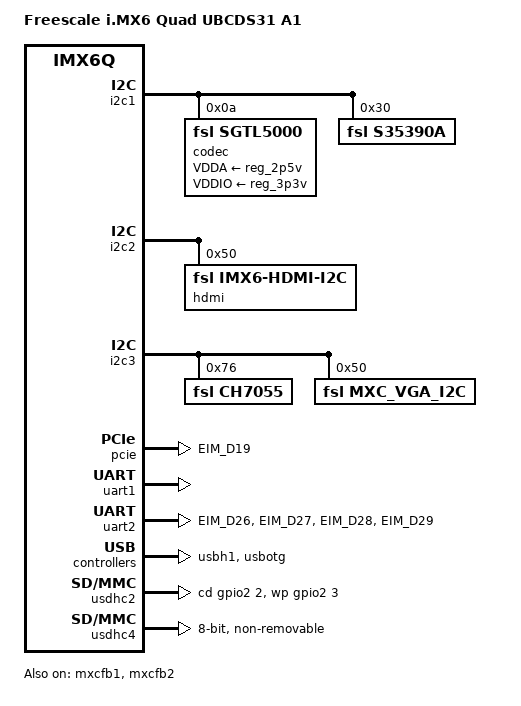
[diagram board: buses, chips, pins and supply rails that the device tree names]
/*
 * Copyright 2012 Freescale Semiconductor, Inc.
 * Copyright 2011 Linaro Ltd.
 *
 * The code contained herein is licensed under the GNU General Public
 * License. You may obtain a copy of the GNU General Public License
 * Version 2 or later at the following locations:
 *
 * http://www.opensource.org/licenses/gpl-license.html
 * http://www.gnu.org/copyleft/gpl.html
 */

/dts-v1/;

#include "imx6q.dtsi"
#include "imx6qdl-advantech.dtsi"

/ {
	model = "Freescale i.MX6 Quad UBCDS31 A1";
	compatible = "fsl,imx6q-sabresd", "fsl,imx6q";

	board {
		compatible = "proc-board";
		board-type = "UBC-DS31 A1";
		board-cpu = "DualQuad";
	};
};

&audio_sgtl5000 {
	audio-codec = <&codec>;
};

&i2c1 {

	codec: sgtl5000@0a {
		compatible = "fsl,sgtl5000";
		reg = <0x0a>;
		clocks = <&clks 201>;
		VDDA-supply = <&reg_2p5v>;
		VDDIO-supply = <&reg_3p3v>;
		mclk = <16000000>;
		mclk_source = <0>;
	};

	s35390a@30 {
		compatible = "fsl,s35390a";
		reg = <0x30>;
	};

};

&i2c2 {

	hdmi: edid@50 {
		compatible = "fsl,imx6-hdmi-i2c";
		reg = <0x50>;
	};
};

&i2c3 {

	ch7055@76 {
		compatible = "fsl,ch7055";
		reg = <0x76>;
	};

	mxc_vga_i2c@50 {
		compatible = "fsl,mxc_vga_i2c";
		reg = <0x50>;
	};
};

&iomuxc {
	pinctrl-names = "default";
	pinctrl-0 = <&pinctrl_hog_1 &pinctrl_hog_2>;

	hog {
		pinctrl_hog_2: hoggrp-2 {
			fsl,pins = <
				MX6QDL_PAD_EIM_D20__GPIO3_IO20 		0x80000000	/* 3G_DET# */
				MX6QDL_PAD_EIM_D24__GPIO3_IO24 		0x80000000	/* ALL_SYS_PG */
				MX6QDL_PAD_EIM_D25__GPIO3_IO25 		0x80000000	/* PLTRST# */
			>;
		};
	};

	pcie {
		pinctrl_pcie_1: pciegrp-1 {
			fsl,pins = <
				MX6QDL_PAD_EIM_D19__GPIO3_IO19		0x80000000	/* PCIE_DIS_B */
			>;
		};
	};

	spi1 {
		pinctrl_ecspi1_cs_0: ecspi1_cs_grp-0 {
			fsl,pins = <
				MX6QDL_PAD_EIM_EB2__GPIO2_IO30		0x80000000	/* ECSPI1_CS0 */
			>;
		};
	};

	uart2 {
		pinctrl_uart2_3: uart2grp-3 { /* DCE mode */
			fsl,pins = <
				MX6QDL_PAD_EIM_D26__UART2_TX_DATA	0x1b0b1
				MX6QDL_PAD_EIM_D27__UART2_RX_DATA	0x1b0b1
				MX6QDL_PAD_EIM_D28__UART2_CTS_B		0x1b0b1
				MX6QDL_PAD_EIM_D29__UART2_RTS_B		0x1b0b1
			>;
		};
	};
};

&mxcfb1 {
	status = "okay";
};

&mxcfb2 {
	status = "okay";
};

&pcie {
	pinctrl-names = "default";
	pinctrl-0 = <&pinctrl_pcie_1>;
	disable-gpio = <&gpio3 19 0>;
	status = "okay";
};

&uart1 {
	pinctrl-names = "default";
	pinctrl-0 = <&pinctrl_uart1_1>;
	status = "okay";
};

&uart2 {
	pinctrl-names = "default";
	pinctrl-0 = <&pinctrl_uart2_3>;
	status = "okay";
};

&usbh1 {
	status = "okay";
};

&usbotg {
	pinctrl-names = "default";
	pinctrl-0 = <&pinctrl_usbotg_2>;
	disable-over-current;
	status = "okay";
};

&usdhc2 {
	pinctrl-names = "default";
	pinctrl-0 = <&pinctrl_usdhc2_2>;
	cd-gpios = <&gpio2 2 0>;
	wp-gpios = <&gpio2 3 0>;
	no-1-8-v;
	keep-power-in-suspend;
	enable-sdio-wakeup;
	status = "okay";
};

&usdhc4 {
	pinctrl-names = "default";
	pinctrl-0 = <&pinctrl_usdhc4_1>;
	bus-width = <8>;
	non-removable;
	no-1-8-v;
	keep-power-in-suspend;
	status = "okay";
};

